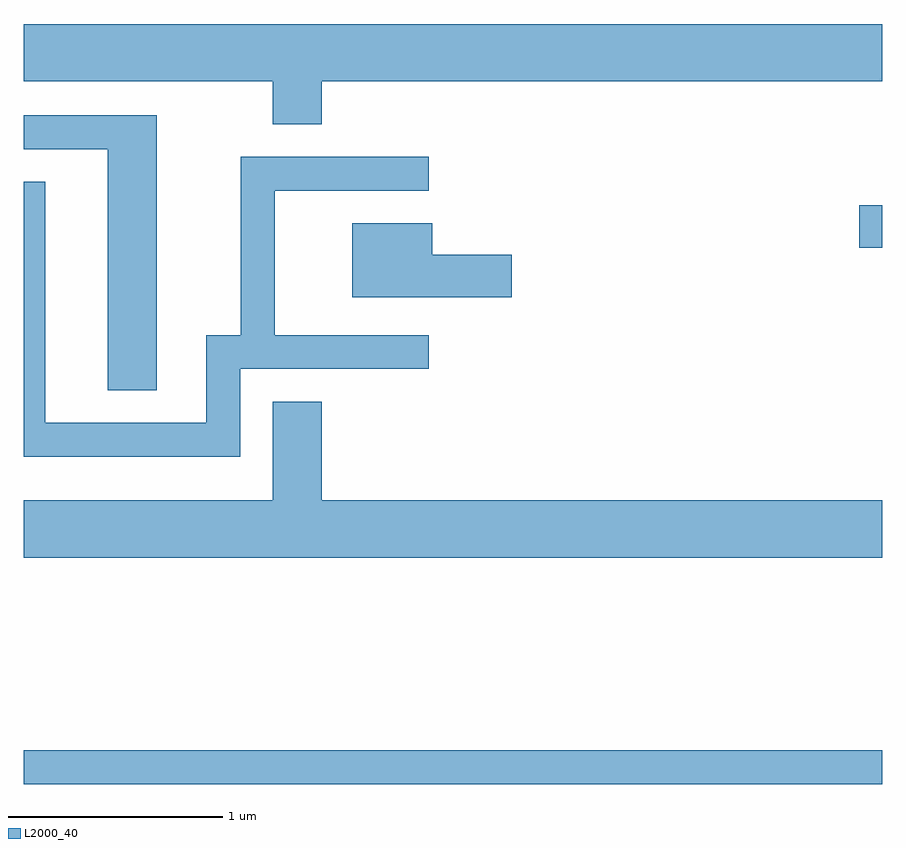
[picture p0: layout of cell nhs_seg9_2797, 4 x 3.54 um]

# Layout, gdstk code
import gdstk
lib = gdstk.Library(unit=1e-6, precision=1e-09)
def R(c, l, rs):  # rectangles x0, y0, x1, y1
    for r in rs: c.add(gdstk.rectangle(r[:2], r[2:], *l))
def P(c, l, *ps):  # polygons
    for p in ps: c.add(gdstk.Polygon(p, *l))
L2000_40 = (2000, 40)

nhs_seg9_2797 = lib.new_cell('nhs_seg9_2797')
R(nhs_seg9_2797, L2000_40, [(267.611,1970.781,271.611,1970.939), (271.506,1973.281,271.611,1973.479)])
P(nhs_seg9_2797, L2000_40, [(268.999,1974.056),(271.611,1974.056),(271.611,1974.324),(267.611,1974.324),(267.611,1974.056),(268.771,1974.056),(268.771,1973.856),(268.999,1973.856)],
  [(268.229,1973.899),(267.611,1973.899),(267.611,1973.741),(268.001,1973.741),(268.001,1972.616),(268.229,1972.616)],
  [(268.619,1972.716),(269.498,1972.716),(269.498,1972.874),(268.779,1972.874),(268.779,1973.546),(269.498,1973.546),(269.498,1973.704),(268.621,1973.704),(268.621,1972.874),(268.461,1972.874),(268.461,1972.464),(267.709,1972.464),(267.709,1973.589),(267.611,1973.589),(267.611,1972.306),(268.619,1972.306)],
  [(269.884,1973.249),(269.514,1973.249),(269.514,1973.394),(269.141,1973.394),(269.141,1973.051),(269.884,1973.051)],
  [(271.611,1972.104),(268.999,1972.104),(268.999,1972.564),(268.771,1972.564),(268.771,1972.104),(267.611,1972.104),(267.611,1971.836),(271.611,1971.836)])

lib.write_gds('nhs_seg9_2797.gds')
